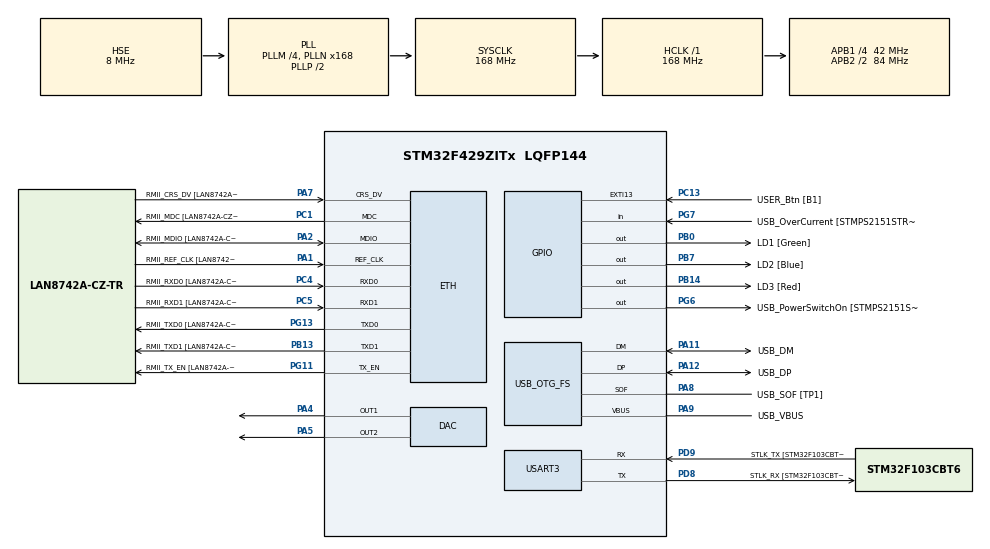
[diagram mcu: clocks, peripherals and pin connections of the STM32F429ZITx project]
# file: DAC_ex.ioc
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ETH.MediaInterface=HAL_ETH_RMII_MODE
ETH.PHY_Name=LAN8742A_PHY_ADDRESS
ETH.PHY_Value=0
ETH.PhyAddress=0
Mcu.Family=STM32F4
Mcu.Name=STM32F429ZITx
Mcu.Package=LQFP144
NVIC.PriorityGroup=NVIC_PRIORITYGROUP_4
PA1.GPIO_Label=RMII_REF_CLK [LAN8742A-CZ-TR_REFCLK0]
PA1.Mode=RMII
PA1.Signal=ETH_REF_CLK
PA10.GPIO_Label=USB_ID
PA10.Signal=USB_OTG_FS_ID
PA11.GPIO_Label=USB_DM
PA11.Mode=Device_Only
PA11.Signal=USB_OTG_FS_DM
PA12.GPIO_Label=USB_DP
PA12.Mode=Device_Only
PA12.Signal=USB_OTG_FS_DP
PA13.GPIO_Label=TMS
PA13.Mode=Serial_Wire
PA13.Signal=SYS_JTMS-SWDIO
PA14.GPIO_Label=TCK
PA14.Mode=Serial_Wire
PA14.Signal=SYS_JTCK-SWCLK
PA2.GPIO_Label=RMII_MDIO [LAN8742A-CZ-TR_MDIO]
PA2.Mode=RMII
PA2.Signal=ETH_MDIO
PA4.Signal=COMP_DAC1_group
PA5.Signal=COMP_DAC2_group
PA7.GPIO_Label=RMII_CRS_DV [LAN8742A-CZ-TR_CRS_DV]
PA7.Mode=RMII
PA7.Signal=ETH_CRS_DV
PA8.GPIO_Label=USB_SOF [TP1]
PA8.Mode=Activate_SOF_FS
PA8.Signal=USB_OTG_FS_SOF
PA9.GPIO_Label=USB_VBUS
PA9.Mode=Activate_VBUS
PA9.Signal=USB_OTG_FS_VBUS
PB0.GPIO_Label=LD1 [Green]
PB0.Signal=GPIO_Output
PB13.GPIO_Label=RMII_TXD1 [LAN8742A-CZ-TR_TXD1]
PB13.Mode=RMII
PB13.Signal=ETH_TXD1
PB14.GPIO_Label=LD3 [Red]
PB14.Signal=GPIO_Output
PB7.GPIO_Label=LD2 [Blue]
PB7.Signal=GPIO_Output
PC1.GPIO_Label=RMII_MDC [LAN8742A-CZ-TR_MDC]
PC1.Mode=RMII
PC1.Signal=ETH_MDC
PC13.GPIO_Label=USER_Btn [B1]
PC13.Signal=GPXTI13
PC14/OSC32_IN.Mode=LSE-External-Oscillator
PC14/OSC32_IN.Signal=RCC_OSC32_IN
PC15/OSC32_OUT.Mode=LSE-External-Oscillator
PC15/OSC32_OUT.Signal=RCC_OSC32_OUT
PC4.GPIO_Label=RMII_RXD0 [LAN8742A-CZ-TR_RXD0]
PC4.Mode=RMII
PC4.Signal=ETH_RXD0
PC5.GPIO_Label=RMII_RXD1 [LAN8742A-CZ-TR_RXD1]
PC5.Mode=RMII
PC5.Signal=ETH_RXD1
PD8.GPIO_Label=STLK_RX [STM32F103CBT6_PA3]
PD8.Mode=Asynchronous
PD8.Signal=USART3_TX
PD9.GPIO_Label=STLK_TX [STM32F103CBT6_PA2]
PD9.Mode=Asynchronous
PD9.Signal=USART3_RX
PG11.GPIO_Label=RMII_TX_EN [LAN8742A-CZ-TR_TXEN]
PG11.Mode=RMII
PG11.Signal=ETH_TX_EN
PG13.GPIO_Label=RMII_TXD0 [LAN8742A-CZ-TR_TXD0]
PG13.Mode=RMII
PG13.Signal=ETH_TXD0
PG6.GPIO_Label=USB_PowerSwitchOn [STMPS2151STR_EN]
PG6.Signal=GPIO_Output
PG7.GPIO_Label=USB_OverCurrent [STMPS2151STR_FAULT]
PG7.Signal=GPIO_Input
PH0/OSC_IN.GPIO_Label=MCO [STM32F103CBT6_PA8]
PH0/OSC_IN.Mode=HSE-External-Clock-Source
PH0/OSC_IN.Signal=RCC_OSC_IN
PH1/OSC_OUT.Mode=HSE-External-Clock-Source
PH1/OSC_OUT.Signal=RCC_OSC_OUT
ProjectManager.HeapSize=0x200
ProjectManager.StackSize=0x400
ProjectManager.TargetToolchain=STM32CubeIDE
RCC.48MHZClocksFreq_Value=48000000
RCC.AHBFreq_Value=168000000
RCC.APB1CLKDivider=RCC_HCLK_DIV4
RCC.APB1Freq_Value=42000000
RCC.APB1TimFreq_Value=84000000
RCC.APB2CLKDivider=RCC_HCLK_DIV2
RCC.APB2Freq_Value=84000000
RCC.APB2TimCLKDivider=2
RCC.APB2TimFreq_Value=168000000
RCC.CortexFreq_Value=168000000
RCC.HCLKFreq_Value=168000000
RCC.HSE_VALUE=8000000
RCC.HSI_VALUE=16000000
RCC.PLLM=4
RCC.PLLMUL=RCC_PLL_MUL9
RCC.PLLN=168
RCC.PLLQ=7
RCC.PRESCALERUSB=RCC_USBCLKSOURCE_PLL_DIV1_5
RCC.SYSCLKFreq_VALUE=168000000
RCC.SYSCLKSource=RCC_SYSCLKSOURCE_PLLCLK
RCC.SYSCLKSourceVirtual=RCC_SYSCLKSOURCE_PLLCLK
RCC.USBFreq_Value=48000000
RCC.VCOOutputFreq_Value=336000000
SH.COMP_DAC1_group.0=DAC_OUT1,DAC_OUT1
SH.COMP_DAC2_group.0=DAC_OUT2,DAC_OUT2
USART3.VirtualMode=VM_ASYNC
USB_OTG_FS.VirtualMode=Device_Only
board=NUCLEO-F429ZI

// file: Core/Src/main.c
/* USER CODE BEGIN Header */
/**
  ******************************************************************************
  * @file           : main.c
  * @brief          : Main program body
  ******************************************************************************
  * @attention
  *
  * Copyright (c) 2023 STMicroelectronics.
  * All rights reserved.
  *
  * This software is licensed under terms that can be found in the LICENSE file
  * in the root directory of this software component.
  * If no LICENSE file comes with this software, it is provided AS-IS.
  *
  ******************************************************************************
  */
/* USER CODE END Header */
#include "main.h"
#include "string.h"

ETH_TxPacketConfig TxConfig;
ETH_DMADescTypeDef  DMARxDscrTab[ETH_RX_DESC_CNT]; /* Ethernet Rx DMA Descriptors */
ETH_DMADescTypeDef  DMATxDscrTab[ETH_TX_DESC_CNT]; /* Ethernet Tx DMA Descriptors */

DAC_HandleTypeDef hdac;

ETH_HandleTypeDef heth;

UART_HandleTypeDef huart3;

PCD_HandleTypeDef hpcd_USB_OTG_FS;

void SystemClock_Config(void);
static void MX_GPIO_Init(void);
static void MX_ETH_Init(void);
static void MX_USART3_UART_Init(void);
static void MX_USB_OTG_FS_PCD_Init(void);
static void MX_DAC_Init(void);

int main(void)
{

  /* MCU Configuration--------------------------------------------------------*/

  /* Reset of all peripherals, Initializes the Flash interface and the Systick. */
  HAL_Init();

  /* Configure the system clock */
  SystemClock_Config();

  /* Initialize all configured peripherals */
  MX_GPIO_Init();
  MX_ETH_Init();
  MX_USART3_UART_Init();
  MX_USB_OTG_FS_PCD_Init();
  MX_DAC_Init();
  /* USER CODE BEGIN 2 */

  HAL_DAC_Start(&hdac, DAC_CHANNEL_1);
  HAL_DAC_Start(&hdac, DAC_CHANNEL_2);
  uint32_t dac_value_1 = 0;
  uint32_t dac_value_2 = 0;

  /* USER CODE END 2 */

  /* Infinite loop */
  while (1)
  {

    /* USER CODE BEGIN 3 */
	  HAL_DAC_SetValue(&hdac, DAC_CHANNEL_1, DAC_ALIGN_12B_R, dac_value_1);
	  if (dac_value_1<4095) {
		  dac_value_1++;
	  }
	  else {
		  dac_value_1 = 0;
	  }

	  HAL_DAC_SetValue(&hdac, DAC_CHANNEL_2, DAC_ALIGN_8B_R, dac_value_2);
	  if (dac_value_2<256) {
		  dac_value_2++;
	  }
	  else {
		  dac_value_2 = 0;
	  }
	  HAL_Delay(5); // 끝나는 거 기다리는 용도

//	  for(dac_value=0; dac_value<=255; dac_value++) {
//		  HAL_DAC_SetValue(&hdac, DAC_CHANNEL_1, DAC_ALIGN_8B_R, dac_value);
//		  HAL_DAT_Start(&hdac, DAC_CHANNEL_1);
//		  HAL_Delay(10);
//	  }

  }
  /* USER CODE END 3 */
}

void SystemClock_Config(void)
{
  RCC_OscInitTypeDef RCC_OscInitStruct = {0};
  RCC_ClkInitTypeDef RCC_ClkInitStruct = {0};

  /** Configure the main internal regulator output voltage
  */
  __HAL_RCC_PWR_CLK_ENABLE();
  __HAL_PWR_VOLTAGESCALING_CONFIG(PWR_REGULATOR_VOLTAGE_SCALE1);

  /** Initializes the RCC Oscillators according to the specified parameters
  * in the RCC_OscInitTypeDef structure.
  */
  RCC_OscInitStruct.OscillatorType = RCC_OSCILLATORTYPE_HSE;
  RCC_OscInitStruct.HSEState = RCC_HSE_BYPASS;
  RCC_OscInitStruct.PLL.PLLState = RCC_PLL_ON;
  RCC_OscInitStruct.PLL.PLLSource = RCC_PLLSOURCE_HSE;
  RCC_OscInitStruct.PLL.PLLM = 4;
  RCC_OscInitStruct.PLL.PLLN = 168;
  RCC_OscInitStruct.PLL.PLLP = RCC_PLLP_DIV2;
  RCC_OscInitStruct.PLL.PLLQ = 7;
  if (HAL_RCC_OscConfig(&RCC_OscInitStruct) != HAL_OK)
  {
    Error_Handler();
  }

  /** Initializes the CPU, AHB and APB buses clocks
  */
  RCC_ClkInitStruct.ClockType = RCC_CLOCKTYPE_HCLK|RCC_CLOCKTYPE_SYSCLK
                              |RCC_CLOCKTYPE_PCLK1|RCC_CLOCKTYPE_PCLK2;
  RCC_ClkInitStruct.SYSCLKSource = RCC_SYSCLKSOURCE_PLLCLK;
  RCC_ClkInitStruct.AHBCLKDivider = RCC_SYSCLK_DIV1;
  RCC_ClkInitStruct.APB1CLKDivider = RCC_HCLK_DIV4;
  RCC_ClkInitStruct.APB2CLKDivider = RCC_HCLK_DIV2;

  if (HAL_RCC_ClockConfig(&RCC_ClkInitStruct, FLASH_LATENCY_5) != HAL_OK)
  {
    Error_Handler();
  }
}

static void MX_DAC_Init(void)
{

  DAC_ChannelConfTypeDef sConfig = {0};

  /** DAC Initialization
  */
  hdac.Instance = DAC;
  if (HAL_DAC_Init(&hdac) != HAL_OK)
  {
    Error_Handler();
  }

  /** DAC channel OUT1 config
  */
  sConfig.DAC_Trigger = DAC_TRIGGER_NONE;
  sConfig.DAC_OutputBuffer = DAC_OUTPUTBUFFER_ENABLE;
  if (HAL_DAC_ConfigChannel(&hdac, &sConfig, DAC_CHANNEL_1) != HAL_OK)
  {
    Error_Handler();
  }

  /** DAC channel OUT2 config
  */
  if (HAL_DAC_ConfigChannel(&hdac, &sConfig, DAC_CHANNEL_2) != HAL_OK)
  {
    Error_Handler();
  }

}

static void MX_ETH_Init(void)
{

   static uint8_t MACAddr[6];

  heth.Instance = ETH;
  MACAddr[0] = 0x00;
  MACAddr[1] = 0x80;
  MACAddr[2] = 0xE1;
  MACAddr[3] = 0x00;
  MACAddr[4] = 0x00;
  MACAddr[5] = 0x00;
  heth.Init.MACAddr = &MACAddr[0];
  heth.Init.MediaInterface = HAL_ETH_RMII_MODE;
  heth.Init.TxDesc = DMATxDscrTab;
  heth.Init.RxDesc = DMARxDscrTab;
  heth.Init.RxBuffLen = 1524;

  if (HAL_ETH_Init(&heth) != HAL_OK)
  {
    Error_Handler();
  }

  memset(&TxConfig, 0 , sizeof(ETH_TxPacketConfig));
  TxConfig.Attributes = ETH_TX_PACKETS_FEATURES_CSUM | ETH_TX_PACKETS_FEATURES_CRCPAD;
  TxConfig.ChecksumCtrl = ETH_CHECKSUM_IPHDR_PAYLOAD_INSERT_PHDR_CALC;
  TxConfig.CRCPadCtrl = ETH_CRC_PAD_INSERT;

}

static void MX_USART3_UART_Init(void)
{

  huart3.Instance = USART3;
  huart3.Init.BaudRate = 115200;
  huart3.Init.WordLength = UART_WORDLENGTH_8B;
  huart3.Init.StopBits = UART_STOPBITS_1;
  huart3.Init.Parity = UART_PARITY_NONE;
  huart3.Init.Mode = UART_MODE_TX_RX;
  huart3.Init.HwFlowCtl = UART_HWCONTROL_NONE;
  huart3.Init.OverSampling = UART_OVERSAMPLING_16;
  if (HAL_UART_Init(&huart3) != HAL_OK)
  {
    Error_Handler();
  }

}

static void MX_USB_OTG_FS_PCD_Init(void)
{

  hpcd_USB_OTG_FS.Instance = USB_OTG_FS;
  hpcd_USB_OTG_FS.Init.dev_endpoints = 4;
  hpcd_USB_OTG_FS.Init.speed = PCD_SPEED_FULL;
  hpcd_USB_OTG_FS.Init.dma_enable = DISABLE;
  hpcd_USB_OTG_FS.Init.phy_itface = PCD_PHY_EMBEDDED;
  hpcd_USB_OTG_FS.Init.Sof_enable = ENABLE;
  hpcd_USB_OTG_FS.Init.low_power_enable = DISABLE;
  hpcd_USB_OTG_FS.Init.lpm_enable = DISABLE;
  hpcd_USB_OTG_FS.Init.vbus_sensing_enable = ENABLE;
  hpcd_USB_OTG_FS.Init.use_dedicated_ep1 = DISABLE;
  if (HAL_PCD_Init(&hpcd_USB_OTG_FS) != HAL_OK)
  {
    Error_Handler();
  }

}

static void MX_GPIO_Init(void)
{
  GPIO_InitTypeDef GPIO_InitStruct = {0};

  /* GPIO Ports Clock Enable */
  __HAL_RCC_GPIOC_CLK_ENABLE();
  __HAL_RCC_GPIOH_CLK_ENABLE();
  __HAL_RCC_GPIOA_CLK_ENABLE();
  __HAL_RCC_GPIOB_CLK_ENABLE();
  __HAL_RCC_GPIOD_CLK_ENABLE();
  __HAL_RCC_GPIOG_CLK_ENABLE();

  /*Configure GPIO pin Output Level */
  HAL_GPIO_WritePin(GPIOB, LD1_Pin|LD3_Pin|LD2_Pin, GPIO_PIN_RESET);

  /*Configure GPIO pin Output Level */
  HAL_GPIO_WritePin(USB_PowerSwitchOn_GPIO_Port, USB_PowerSwitchOn_Pin, GPIO_PIN_RESET);

  /*Configure GPIO pin : USER_Btn_Pin */
  GPIO_InitStruct.Pin = USER_Btn_Pin;
  GPIO_InitStruct.Mode = GPIO_MODE_IT_RISING;
  GPIO_InitStruct.Pull = GPIO_NOPULL;
  HAL_GPIO_Init(USER_Btn_GPIO_Port, &GPIO_InitStruct);

  /*Configure GPIO pins : LD1_Pin LD3_Pin LD2_Pin */
  GPIO_InitStruct.Pin = LD1_Pin|LD3_Pin|LD2_Pin;
  GPIO_InitStruct.Mode = GPIO_MODE_OUTPUT_PP;
  GPIO_InitStruct.Pull = GPIO_NOPULL;
  GPIO_InitStruct.Speed = GPIO_SPEED_FREQ_LOW;
  HAL_GPIO_Init(GPIOB, &GPIO_InitStruct);

  /*Configure GPIO pin : USB_PowerSwitchOn_Pin */
  GPIO_InitStruct.Pin = USB_PowerSwitchOn_Pin;
  GPIO_InitStruct.Mode = GPIO_MODE_OUTPUT_PP;
  GPIO_InitStruct.Pull = GPIO_NOPULL;
  GPIO_InitStruct.Speed = GPIO_SPEED_FREQ_LOW;
  HAL_GPIO_Init(USB_PowerSwitchOn_GPIO_Port, &GPIO_InitStruct);

  /*Configure GPIO pin : USB_OverCurrent_Pin */
  GPIO_InitStruct.Pin = USB_OverCurrent_Pin;
  GPIO_InitStruct.Mode = GPIO_MODE_INPUT;
  GPIO_InitStruct.Pull = GPIO_NOPULL;
  HAL_GPIO_Init(USB_OverCurrent_GPIO_Port, &GPIO_InitStruct);

}

void Error_Handler(void)
{
  __disable_irq();
  while (1)
  {
  }
}
